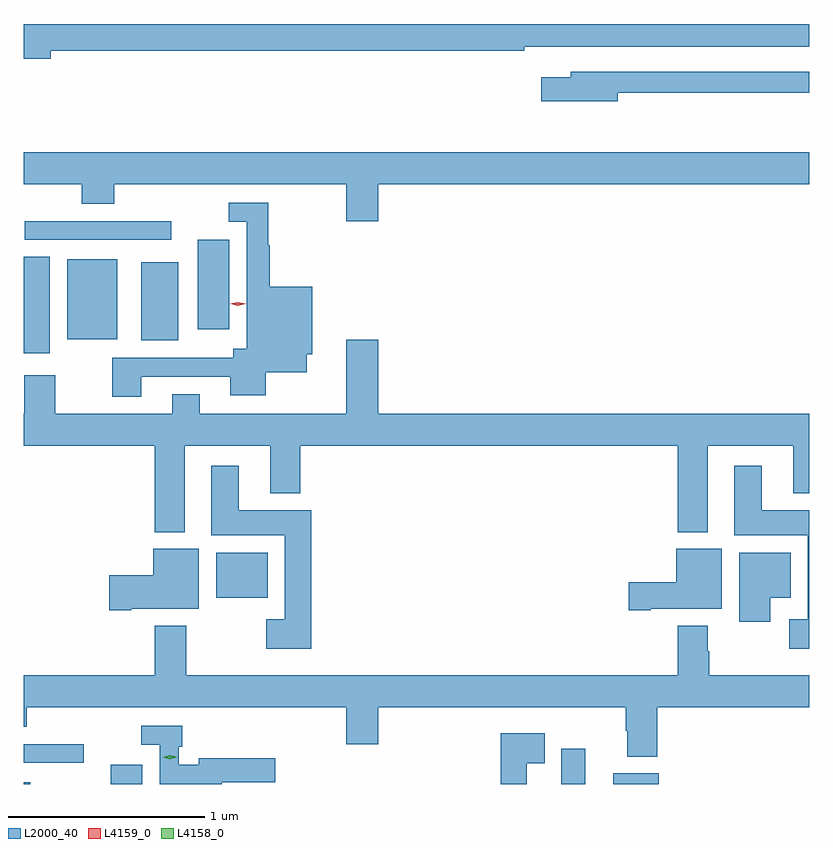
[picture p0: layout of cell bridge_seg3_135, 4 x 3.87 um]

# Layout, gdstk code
import gdstk
lib = gdstk.Library(unit=1e-6, precision=1e-09)
def R(c, l, rs):  # rectangles x0, y0, x1, y1
    for r in rs: c.add(gdstk.rectangle(r[:2], r[2:], *l))
def P(c, l, *ps):  # polygons
    for p in ps: c.add(gdstk.Polygon(p, *l))
L2000_40 = (2000, 40)
L4158_0 = (4158, 0)
L4159_0 = (4159, 0)

bridge_seg3_135 = lib.new_cell('bridge_seg3_135')
R(bridge_seg3_135, L2000_40, [(355.174,675.217,355.207,675.226), (355.616,675.217,355.777,675.316), (357.911,675.217,358.033,675.397), (358.175,675.217,358.408,675.271), (355.174,675.324,355.48,675.42), (356.153,676.166,356.416,676.396), (355.174,677.412,355.306,677.903), (355.772,677.477,355.96,677.875), (355.394,677.483,355.651,677.89), (356.06,677.532,356.221,677.989), (355.179,677.988,355.924,678.084)])
P(bridge_seg3_135, L2000_40, [(355.312,678.952),(357.722,678.952),(357.722,678.972),(359.174,678.972),(359.174,679.088),(355.174,679.088),(355.174,678.91),(355.312,678.91)],
  [(358.198,678.738),(359.174,678.738),(359.174,678.846),(357.959,678.846),(357.959,678.817),(357.81,678.817),(357.81,678.695),(358.198,678.695)],
  [(356.98,678.272),(359.174,678.272),(359.174,678.436),(355.174,678.436),(355.174,678.272),(355.469,678.272),(355.469,678.173),(355.634,678.173),(355.634,678.272),(356.816,678.272),(356.816,678.084),(356.98,678.084)],
  [(355.771,677.292),(356.225,677.292),(356.225,677.198),(356.407,677.198),(356.407,677.315),(356.614,677.315),(356.614,677.405),(356.644,677.405),(356.644,677.749),(356.426,677.749),(356.426,677.96),(356.419,677.96),(356.419,678.177),(356.217,678.177),(356.217,678.08),(356.31,678.08),(356.31,677.645),(356.309,677.645),(356.309,677.434),(356.24,677.434),(356.24,677.388),(355.624,677.388),(355.624,677.19),(355.771,677.19)],
  [(355.993,676.94),(356.429,676.94),(356.429,676.697),(356.582,676.697),(356.582,676.94),(358.505,676.94),(358.505,676.499),(358.657,676.499),(358.657,676.94),(359.093,676.94),(359.093,676.697),(359.174,676.697),(359.174,677.104),(356.98,677.104),(356.98,677.479),(356.816,677.479),(356.816,677.104),(356.071,677.104),(356.071,677.203),(355.931,677.203),(355.931,677.104),(355.335,677.104),(355.335,677.299),(355.175,677.299),(355.175,677.104),(355.174,677.104),(355.174,676.94),(355.841,676.94),(355.841,676.499),(355.993,676.499)],
  [(356.639,676.612),(356.269,676.612),(356.269,676.837),(356.129,676.837),(356.129,676.484),(356.504,676.484),(356.504,676.057),(356.409,676.057),(356.409,675.905),(356.639,675.905)],
  [(359.174,676.612),(358.933,676.612),(358.933,676.837),(358.793,676.837),(358.793,676.484),(359.168,676.484),(359.168,676.057),(359.073,676.057),(359.073,675.905),(359.174,675.905)],
  [(358.366,676.109),(358.729,676.109),(358.729,676.414),(358.496,676.414),(358.496,676.244),(358.254,676.244),(358.254,676.102),(358.366,676.102)],
  [(355.72,676.109),(356.065,676.109),(356.065,676.414),(355.832,676.414),(355.832,676.28),(355.608,676.28),(355.608,676.102),(355.72,676.102)],
  [(358.975,676.166),(359.08,676.166),(359.08,676.396),(358.817,676.396),(358.817,676.044),(358.975,676.044)],
  [(358.4,675.608),(359.174,675.608),(359.174,675.772),(358.665,675.772),(358.665,675.893),(358.657,675.893),(358.657,676.024),(358.505,676.024),(358.505,675.772),(356.001,675.772),(356.001,676.024),(355.841,676.024),(355.841,675.772),(355.174,675.772),(355.174,675.509),(355.19,675.509),(355.19,675.608),(356.816,675.608),(356.816,675.42),(356.98,675.42),(356.98,675.608),(358.24,675.608),(358.24,675.488),(358.247,675.488),(358.247,675.356),(358.4,675.356)],
  [(356.182,675.227),(356.455,675.227),(356.455,675.349),(356.066,675.349),(356.066,675.315),(355.962,675.315),(355.962,675.407),(355.982,675.407),(355.982,675.513),(355.773,675.513),(355.773,675.417),(355.866,675.417),(355.866,675.217),(356.182,675.217)],
  [(357.736,675.323),(357.826,675.323),(357.826,675.475),(357.602,675.475),(357.602,675.217),(357.736,675.217)])
P(bridge_seg3_135, L4158_0, [(355.917,675.343),(355.882,675.352),(355.882,675.352),(355.882,675.352),(355.916,675.363),(355.95,675.355),(355.95,675.355),(355.95,675.354)])
P(bridge_seg3_135, L4159_0, [(356.264,677.652),(356.225,677.662),(356.225,677.663),(356.225,677.663),(356.264,677.672),(356.304,677.662),(356.304,677.662),(356.304,677.662)])

lib.write_gds('bridge_seg3_135.gds')
